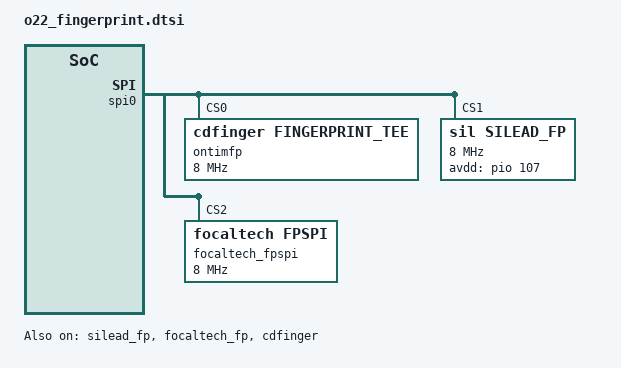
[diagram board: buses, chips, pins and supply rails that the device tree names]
&spi0 {
    #address-cells = <1>;
    #size-cells = <0>;
    /delete-property/mediatek,pad-select;
    /* hs14 code for SR-AL6528A-01-282|SR-AL6528A-01-292 by xiongxiaoliang at 2022/10/10 start */
    mediatek,pad-select = <0>,<0>,<0>;
    cs-gpios = <0>,<0>,<0>;
    status = "okay";

    ontimfp@0 {
        compatible = "cdfinger,fingerprint_tee";
        reg = <0>;
        spi-max-frequency = <8000000>;
        status = "okay";
    };

    silead_fp@1 {
        compatible = "sil,silead_fp";
        reg = <1>;
        spi-id = <0>;
        spi-irq = <138>;
        spi-reg = <0x1100a000>;
        spi-max-frequency = <8000000>;
        avdd-gpio =<&pio 107 0x0>;
        status = "okay";
    };
    focaltech_fpspi@2 {
        compatible = "focaltech,fpspi";
        reg = <2>;
        spi-max-frequency = <8000000>;
        status = "okay";
    };
    /* hs14 code for SR-AL6528A-01-282|SR-AL6528A-01-292 by xiongxiaoliang at 2022/10/10 end */
};

/* hs14 code for AL6528A-947 by zhangziyi at 2022/11/21 start */
&silead_fp {
    interrupt-parent = <&pio>;
    interrupts = <10 IRQ_TYPE_EDGE_RISING 10 0>;

    pinctrl-names = "default", "rst-low", "rst-high" ,
    "irq-init", "spi-default", "irq_rst-low", "irq_rst-high",
    "avdd-enable", "avdd-disable",
    "silead-ldo-enable", "silead-ldo-disable";
    pinctrl-0 = <&silfp_default>;
    pinctrl-1 = <&silfp_rst_low>;
    pinctrl-2 = <&silfp_rst_high>;
    pinctrl-3 = <&silfp_irq>;
    pinctrl-4 = <&fingerprint_pins_default>;
    pinctrl-5 = <&silfp_irq_rst_low>;
    pinctrl-6 = <&silfp_irq_rst_high>;
    pinctrl-7 = <&silead_avdd_enable>;
    pinctrl-8 = <&silead_avdd_disable>;
    pinctrl-9 = <&silead_ldo_enable>;
    pinctrl-10 = <&silead_ldo_disable>;
    status = "okay";
};

&pio {
    fingerprint_pins_default: fp_default {
        pins_cmd_dat {
            pinmux = <PINMUX_GPIO33__FUNC_SPI0_CSB>;
            slew-rate = <1>;
            bias-pull-up;
        };

        pins_cmd2_dat {
            pinmux = <PINMUX_GPIO35__FUNC_SPI0_CLK>;
            slew-rate = <1>;
            bias-pull-down;
        };

        pins_cmd3_dat {
            pinmux = <PINMUX_GPIO32__FUNC_SPI0_MI>;
            slew-rate = <0>;
            bias-pull-down;
        };

        pins_cmd4_dat {
            pinmux = <PINMUX_GPIO34__FUNC_SPI0_MO>;
            slew-rate = <1>;
            bias-pull-down;
        };
    };
};

&pio {
    silfp_default: silfpdefault {
    };

    silfp_rst_high: state_reset_high {
        pins_cmd_dat {
            pinmux = <PINMUX_GPIO31__FUNC_GPIO31>;
            slew-rate = <1>;
            output-high;
        };
    };

    silfp_rst_low: state_reset_low {
        pins_cmd_dat {
            pinmux = <PINMUX_GPIO31__FUNC_GPIO31>;
            slew-rate = <1>;
            output-low;
        };
    };

    silfp_irq_rst_high: state_irq_to_reset_high {
        pins_cmd_dat {
            pinmux = <PINMUX_GPIO10__FUNC_GPIO10>;
            slew-rate = <1>;
            output-high;
        };
    };

    silfp_irq_rst_low: state_irq_to_reset_low {
        pins_cmd_dat {
            pinmux = <PINMUX_GPIO10__FUNC_GPIO10>;
            slew-rate = <1>;
            output-low;
        };
    };

    silfp_irq: fp_eint@10 {
        pins_cmd_dat {
            pinmux = <PINMUX_GPIO10__FUNC_GPIO10>;
            slew-rate = <0>;
            output-low;
        };
    };

    silead_avdd_enable: silead_avdd_enable {
        pins_cmd_dat {
            pinmux = <PINMUX_GPIO107__FUNC_GPIO107>;
            slew-rate = <1>;
            output-high;
        };
    };

    silead_avdd_disable: silead_avdd_disable {
        pins_cmd_dat {
            pinmux = <PINMUX_GPIO107__FUNC_GPIO107>;
            slew-rate = <1>;
            output-low;
        };
    };

    silead_ldo_enable: silead_ldo_enable {
        pins_cmd_dat {
            pinmux = <PINMUX_GPIO158__FUNC_GPIO158>;
            slew-rate = <1>;
            output-high;
        };
    };

    silead_ldo_disable: silead_ldo_disable {
        pins_cmd_dat {
            pinmux = <PINMUX_GPIO158__FUNC_GPIO158>;
            slew-rate = <1>;
            output-low;
        };
    };
};

&focaltech_fp {
    status = "okay";
    interrupt-parent = <&pio>;
    interrupts = <10 IRQ_TYPE_EDGE_RISING>;

    focaltech_fp,reset-gpio = <&pio 31 0>;
    focaltech_fp,irq-gpio = <&pio 10 0>;
    focaltech_fp,vdd-gpio = <&pio 107 0>;
    focaltech_fp,ldo-gpio = <&pio 158 0>;

    //focaltech_fp,power-always-on;
    //focaltech_fp,use-regulator;
    //ff_vdd-supply = <&mt_pmic_vfp_ldo_reg>;

    //focaltech_fp,ree;
    //focaltech_fp,no-screen-on-off;
    focaltech_fp,spiclk;

    //focaltech_fp,use-pinctrl;
    pinctrl-names = "ff_pins_reset_low","ff_pins_reset_high","ff_pins_irq_as_int","ff_pins_power_low","ff_pins_power_high";
    pinctrl-0 = <&fp_pins_rst_output0>;
    pinctrl-1 = <&fp_pins_rst_output1>;
    pinctrl-2 = <&fp_pins_eint>;
    pinctrl-3 = <&fp_pins_power_output0>;
    pinctrl-4 = <&fp_pins_power_output1>;
};

&pio {
    fp_pins_rst_output0: fprstout0 {
        pins_cmd_dat {
            pinmux = <PINMUX_GPIO31__FUNC_GPIO31>;
            output-low;
        };
    };
    fp_pins_rst_output1: fprstout1 {
        pins_cmd_dat {
            pinmux = <PINMUX_GPIO31__FUNC_GPIO31>;
            output-high;
        };
    };
    fp_pins_eint: fpeint {
        pins_cmd_dat {
            pinmux = <PINMUX_GPIO10__FUNC_GPIO10>;
            bias-disable;
            input-enable;
        };
    };
    fp_pins_power_output0: fppwrout0 {
        pins_cmd_dat {
            pinmux = <PINMUX_GPIO107__FUNC_GPIO107>;
            output-low;
        };
    };
    fp_pins_power_output1: fppwrout1 {
        pins_cmd_dat {
            pinmux = <PINMUX_GPIO107__FUNC_GPIO107>;
            output-high;
        };
    };
};

/* hs14 code for SR-AL6528A-01-282|SR-AL6528A-01-292 by xiongxiaoliang at 2022/10/10 start */
&cdfinger {
    interrupt-parent = <&pio>;
    interrupts = <10 IRQ_TYPE_EDGE_RISING 10 0>;
    compatible = "mediatek,mtk_finger";
    reg = <0>;
    debounce = <10 0>;
    vdd_ldo_enable = <1>;
    vio_ldo_enable = <0>;
    config_spi_pin = <1>;
    spi-max-frequency = <8000000>;

    pinctrl-names = "fingerprint_reset_high",
        "fingerprint_reset_low",
        "fingerprint_power_high",
        "fingerprint_power_low",
        "fingerprint_vio_high",
        "fingerprint_vio_low",
        "fingerprint_spi_miso",
        "fingerprint_spi_mosi",
        "fingerprint_spi_sck",
        "fingerprint_spi_cs",
        "fingerprint_irq",
        "cdfinger_ldo_enable",
        "cdfinger_ldo_disable";

    pinctrl-0 = <&fps_reset_high>;
    pinctrl-1 = <&fps_reset_low>;
    pinctrl-2 = <&fps_power_on>;
    pinctrl-3 = <&fps_power_off>;
    pinctrl-4 = <&fps_vio_on>;
    pinctrl-5 = <&fps_vio_off>;
    pinctrl-6 = <&fps_spi_miso>;
    pinctrl-7 = <&fps_spi_mosi>;
    pinctrl-8 = <&fps_spi_sck>;
    pinctrl-9 = <&fps_spi_cs>;
    pinctrl-10 = <&fps_irq>;
    pinctrl-11 = <&fps_ldo_enable>;
    pinctrl-12 = <&fps_ldo_disable>;
    status = "okay";
};

&pio {
    fps_reset_high: fps_reset_high {
        pins_cmd_dat {
            pinmux = <PINMUX_GPIO31__FUNC_GPIO31>;
            slew-rate = <1>;
            bias-disable;
            output-high;
        };
    };
    fps_reset_low: fps_reset_low {
        pins_cmd_dat {
            pinmux = <PINMUX_GPIO31__FUNC_GPIO31>;
            slew-rate = <1>;
            bias-disable;
            output-low;
        };
    };
    fps_power_on: fps_power_on {
        pins_cmd_dat {
            pinmux = <PINMUX_GPIO107__FUNC_GPIO107>;
            slew-rate = <1>;
            bias-disable;
            output-high;
        };
    };
    fps_power_off: fps_power_off {
        pins_cmd_dat {
            pinmux = <PINMUX_GPIO107__FUNC_GPIO107>;
            slew-rate = <1>;
            bias-disable;
            output-low;
        };
    };
    fps_ldo_enable: fps_ldo_enable {
        pins_cmd_dat {
            pinmux = <PINMUX_GPIO158__FUNC_GPIO158>;
            slew-rate = <1>;
            bias-disable;
            output-high;
        };
    };
    fps_ldo_disable: fps_ldo_disable {
        pins_cmd_dat {
            pinmux = <PINMUX_GPIO158__FUNC_GPIO158>;
            slew-rate = <1>;
            bias-disable;
            output-low;
        };
    };
    fps_vio_on: fps_vio_on {
        pins_cmd_dat {
            pinmux = <PINMUX_GPIO158__FUNC_GPIO158>;
            slew-rate = <1>;
            bias-disable;
            output-high;
        };
    };
    fps_vio_off: fps_vio_off {
        pins_cmd_dat {
            pinmux = <PINMUX_GPIO158__FUNC_GPIO158>;
            slew-rate = <1>;
            bias-disable;
            output-low;
        };
    };
    fps_spi_miso:fps_spi_miso@0{
        pins_cmd_dat {
            pinmux = <PINMUX_GPIO32__FUNC_SPI0_MI>;
            slew-rate = <0>;
            bias-pull-up = <11>;
            output-low;
        };
    };
    fps_spi_mosi:fps_spi_mosi@0{
        pins_cmd_dat {
            pinmux = <PINMUX_GPIO34__FUNC_SPI0_MO>;
            slew-rate = <1>;
            bias-pull-up = <11>;
            output-low;
        };
    };
    fps_spi_sck:fps_spi_sck@0{
        pins_cmd_dat {
            pinmux = <PINMUX_GPIO35__FUNC_SPI0_CLK>;
            slew-rate = <1>;
            bias-pull-up = <11>;
            output-low;
        };
    };
    fps_spi_cs:fps_spi_cs@0{
        pins_cmd_dat {
            pinmux = <PINMUX_GPIO33__FUNC_SPI0_CSB>;
            slew-rate = <1>;
            bias-pull-up = <11>;
            output-low;
        };
    };
    fps_irq: fps_irq {
        pins_cmd_dat {
            pinmux = <PINMUX_GPIO10__FUNC_GPIO10>;
            slew-rate = <0>;
            bias-disable;
            output-low;
        };
    };
};
/* hs14 code for SR-AL6528A-01-282|SR-AL6528A-01-292 by xiongxiaoliang at 2022/10/10 end */
/* hs14 code for AL6528A-947 by zhangziyi at 2022/11/21 end */
